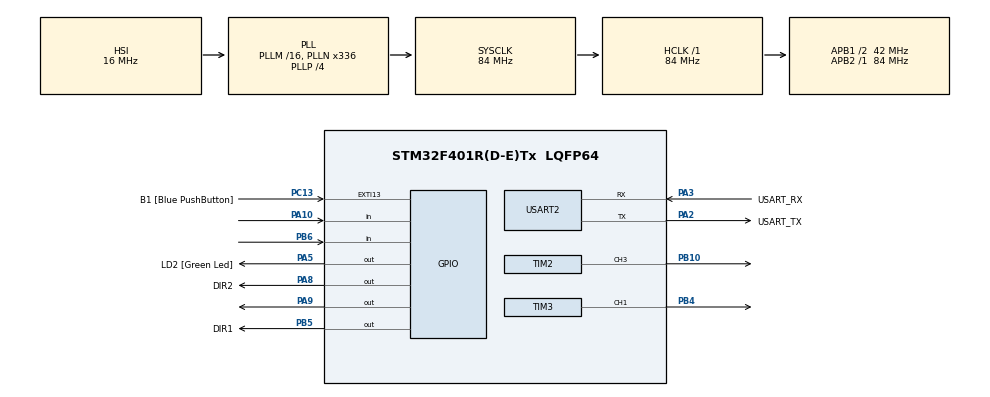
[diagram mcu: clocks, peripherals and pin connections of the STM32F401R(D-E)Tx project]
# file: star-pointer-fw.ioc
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Mcu.Family=STM32F4
Mcu.Name=STM32F401R(D-E)Tx
Mcu.Package=LQFP64
NVIC.PriorityGroup=NVIC_PRIORITYGROUP_4
NVIC.TIM2_IRQn=true\:0\:0\:false\:false\:true\:true\:true\:true
NVIC.TIM3_IRQn=true\:0\:0\:false\:false\:true\:true\:true\:true
PA10.GPIO_PuPd=GPIO_PULLUP
PA10.Signal=GPIO_Input
PA13.GPIO_Label=TMS
PA13.Mode=Trace_Asynchronous_SW
PA13.Signal=SYS_JTMS-SWDIO
PA14.GPIO_Label=TCK
PA14.Mode=Trace_Asynchronous_SW
PA14.Signal=SYS_JTCK-SWCLK
PA2.GPIO_Label=USART_TX
PA2.GPIO_Mode=GPIO_MODE_AF_PP
PA2.GPIO_PuPd=GPIO_NOPULL
PA2.GPIO_Speed=GPIO_SPEED_FREQ_LOW
PA2.Mode=Asynchronous
PA2.Signal=USART2_TX
PA3.GPIO_Label=USART_RX
PA3.GPIO_Mode=GPIO_MODE_AF_PP
PA3.GPIO_PuPd=GPIO_NOPULL
PA3.GPIO_Speed=GPIO_SPEED_FREQ_LOW
PA3.Mode=Asynchronous
PA3.Signal=USART2_RX
PA5.GPIO_Label=LD2 [Green Led]
PA5.GPIO_Mode=GPIO_MODE_OUTPUT_PP
PA5.GPIO_PuPd=GPIO_NOPULL
PA5.GPIO_Speed=GPIO_SPEED_FREQ_LOW
PA5.Signal=GPIO_Output
PA8.GPIO_Label=DIR2
PA8.Signal=GPIO_Output
PA9.Signal=GPIO_Output
PB10.Signal=S_TIM2_CH3
PB3.GPIO_Label=SWO
PB3.Mode=Trace_Asynchronous_SW
PB3.Signal=SYS_JTDO-SWO
PB4.Signal=S_TIM3_CH1
PB5.GPIO_Label=DIR1
PB5.Signal=GPIO_Output
PB6.GPIO_PuPd=GPIO_PULLUP
PB6.Signal=GPIO_Input
PC13-ANTI_TAMP.GPIO_Label=B1 [Blue PushButton]
PC13-ANTI_TAMP.GPIO_ModeDefaultEXTI=GPIO_MODE_IT_FALLING
PC13-ANTI_TAMP.GPIO_PuPd=GPIO_NOPULL
PC13-ANTI_TAMP.Signal=GPXTI13
PC14-OSC32_IN.Mode=LSE-External-Oscillator
PC14-OSC32_IN.Signal=RCC_OSC32_IN
PC15-OSC32_OUT.Mode=LSE-External-Oscillator
PC15-OSC32_OUT.Signal=RCC_OSC32_OUT
PH0\ -\ OSC_IN.Mode=HSE-External-Clock-Source
PH0\ -\ OSC_IN.Signal=RCC_OSC_IN
PH1\ -\ OSC_OUT.Mode=HSE-External-Clock-Source
PH1\ -\ OSC_OUT.Signal=RCC_OSC_OUT
ProjectManager.HeapSize=0x200
ProjectManager.StackSize=0x400
ProjectManager.TargetToolchain=STM32CubeIDE
RCC.48MHZClocksFreq_Value=48000000
RCC.AHBFreq_Value=84000000
RCC.APB1CLKDivider=RCC_HCLK_DIV2
RCC.APB1Freq_Value=42000000
RCC.APB1TimFreq_Value=84000000
RCC.APB2Freq_Value=84000000
RCC.APB2TimFreq_Value=84000000
RCC.CortexFreq_Value=84000000
RCC.HCLKFreq_Value=84000000
RCC.HSE_VALUE=8000000
RCC.HSI_VALUE=16000000
RCC.PLLN=336
RCC.PLLP=RCC_PLLP_DIV4
RCC.PLLQ=7
RCC.SYSCLKFreq_VALUE=84000000
RCC.SYSCLKSource=RCC_SYSCLKSOURCE_PLLCLK
RCC.VCOOutputFreq_Value=336000000
SH.S_TIM2_CH3.0=TIM2_CH3,PWM Generation3 CH3
SH.S_TIM3_CH1.0=TIM3_CH1,PWM Generation1 CH1
TIM2.Channel-PWM\ Generation3\ CH3=TIM_CHANNEL_3
TIM2.Period=4999
TIM2.Prescaler=83
TIM2.Pulse-PWM\ Generation3\ CH3=2500
TIM3.Channel-PWM\ Generation1\ CH1=TIM_CHANNEL_1
TIM3.Period=4999
TIM3.Prescaler=83
TIM3.Pulse-PWM\ Generation1\ CH1=2500
USART2.VirtualMode=VM_ASYNC
VP_TIM2_VS_ClockSourceINT.Mode=Internal
VP_TIM3_VS_ClockSourceINT.Mode=Internal
board=NUCLEO-F401RE

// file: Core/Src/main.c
/* USER CODE BEGIN Header */
/**
  ******************************************************************************
  * @file           : main.c
  * @brief          : Main program body
  ******************************************************************************
  * @attention
  *
  * Copyright (c) 2026 STMicroelectronics.
  * All rights reserved.
  *
  * This software is licensed under terms that can be found in the LICENSE file
  * in the root directory of this software component.
  * If no LICENSE file comes with this software, it is provided AS-IS.
  *
  ******************************************************************************
  */
/* USER CODE END Header */
#include "main.h"
#include "tim.h"
#include "usart.h"
#include "gpio.h"

/* USER CODE BEGIN Includes */
#include <string.h>
#include <stdio.h>
/* USER CODE END Includes */

/* USER CODE BEGIN PTD */

typedef struct {
  TIM_HandleTypeDef *htim;
  uint32_t channel;
  GPIO_TypeDef *dir_port;
  uint16_t dir_pin;
  volatile uint32_t steps_left;
  volatile uint8_t busy;
  volatile int32_t pos;
  int8_t dir;
} Axis;

/* USER CODE END PTD */

/* USER CODE BEGIN PD */

#define LASER_PORT GPIOA
#define LASER_PIN  GPIO_PIN_9

#define LASER_TIMEOUT_MS 60000

#define ALT_ES_PORT GPIOA
#define ALT_ES_PIN  GPIO_PIN_10

#define AZ_ES_PORT GPIOB
#define AZ_ES_PIN  GPIO_PIN_6

/* az homing search limit, 50-step chunks, about 190 deg */
#define AZ_SEARCH_CHUNKS 135

/* steps from the switch release edge up to laser level */
#define ALT_HOME_OFFSET 0

/* az homing CW search limit, 50-step chunks, about 230 deg */
#define AZ_CW_CHUNKS 164
/* start the final creep this many steps short of the edge, about 4 deg */
#define AZ_CREEP_START 150

/* USER CODE END PD */

/* USER CODE BEGIN PV */

Axis axes[2];
char line_buf[64];
uint8_t line_len = 0;

uint8_t laser_on = 0;
uint32_t laser_on_tick = 0;

/* USER CODE END PV */

void SystemClock_Config(void);
/* USER CODE BEGIN PFP */

void uart_print(const char *s);
int axis_move(Axis *ax, int32_t steps);
void axis_stop_all(void);
void handle_line(const char *line);
void home_altitude(void);
void home_azimuth(void);

/* USER CODE END PFP */

int main(void)
{

  /* MCU Configuration--------------------------------------------------------*/

  /* Reset of all peripherals, Initializes the Flash interface and the Systick. */
  HAL_Init();

  /* Configure the system clock */
  SystemClock_Config();

  /* Initialize all configured peripherals */
  MX_GPIO_Init();
  MX_USART2_UART_Init();
  MX_TIM2_Init();
  MX_TIM3_Init();
  /* USER CODE BEGIN 2 */

  axes[0] = (Axis){ &htim3, TIM_CHANNEL_1, DIR1_GPIO_Port, DIR1_Pin, 0, 0, 0, 1 };
  axes[1] = (Axis){ &htim2, TIM_CHANNEL_3, DIR2_GPIO_Port, DIR2_Pin, 0, 0, 0, 1 };
  /* default step period 600us: 3x margin over motor 2's
     unloaded limit (stalls at 150, clean at 200) */
  for (int i = 0; i < 2; i++)
  {
    __HAL_TIM_SET_AUTORELOAD(axes[i].htim, 599);
    __HAL_TIM_SET_COMPARE(axes[i].htim, axes[i].channel, 300);
  }
  uart_print("star pointer ready\r\n");

  HAL_GPIO_WritePin(LASER_PORT, LASER_PIN, GPIO_PIN_RESET);

  /* USER CODE END 2 */

  /* Infinite loop */
  while (1)
  {

    /* USER CODE BEGIN 3 */

	  if (laser_on && HAL_GetTick() - laser_on_tick >= LASER_TIMEOUT_MS) {
	    HAL_GPIO_WritePin(LASER_PORT, LASER_PIN, GPIO_PIN_RESET);
	    laser_on = 0;
	  }

	  uint8_t c;
	  if (HAL_UART_Receive(&huart2, &c, 1, 0) == HAL_OK) {
	    if (c == '\r' || c == '\n') {
	      if (line_len > 0) {
	        uart_print("\r\n");
	        line_buf[line_len] = '\0';
	        handle_line(line_buf);
	        line_len = 0;
	      }
	    } else if (c == 0x7F || c == 0x08) {
	      if (line_len > 0) {
	        line_len--;
	        uart_print("\b \b");
	      }
	    } else if (line_len < sizeof(line_buf) - 1) {
	      line_buf[line_len++] = c;
	      HAL_UART_Transmit(&huart2, &c, 1, HAL_MAX_DELAY);
	    }
	  }

  }
  /* USER CODE END 3 */
}

void SystemClock_Config(void)
{
  RCC_OscInitTypeDef RCC_OscInitStruct = {0};
  RCC_ClkInitTypeDef RCC_ClkInitStruct = {0};

  /** Configure the main internal regulator output voltage
  */
  __HAL_RCC_PWR_CLK_ENABLE();
  __HAL_PWR_VOLTAGESCALING_CONFIG(PWR_REGULATOR_VOLTAGE_SCALE2);

  /** Initializes the RCC Oscillators according to the specified parameters
  * in the RCC_OscInitTypeDef structure.
  */
  RCC_OscInitStruct.OscillatorType = RCC_OSCILLATORTYPE_HSI;
  RCC_OscInitStruct.HSIState = RCC_HSI_ON;
  RCC_OscInitStruct.HSICalibrationValue = RCC_HSICALIBRATION_DEFAULT;
  RCC_OscInitStruct.PLL.PLLState = RCC_PLL_ON;
  RCC_OscInitStruct.PLL.PLLSource = RCC_PLLSOURCE_HSI;
  RCC_OscInitStruct.PLL.PLLM = 16;
  RCC_OscInitStruct.PLL.PLLN = 336;
  RCC_OscInitStruct.PLL.PLLP = RCC_PLLP_DIV4;
  RCC_OscInitStruct.PLL.PLLQ = 7;
  if (HAL_RCC_OscConfig(&RCC_OscInitStruct) != HAL_OK)
  {
    Error_Handler();
  }

  /** Initializes the CPU, AHB and APB buses clocks
  */
  RCC_ClkInitStruct.ClockType = RCC_CLOCKTYPE_HCLK|RCC_CLOCKTYPE_SYSCLK
                              |RCC_CLOCKTYPE_PCLK1|RCC_CLOCKTYPE_PCLK2;
  RCC_ClkInitStruct.SYSCLKSource = RCC_SYSCLKSOURCE_PLLCLK;
  RCC_ClkInitStruct.AHBCLKDivider = RCC_SYSCLK_DIV1;
  RCC_ClkInitStruct.APB1CLKDivider = RCC_HCLK_DIV2;
  RCC_ClkInitStruct.APB2CLKDivider = RCC_HCLK_DIV1;

  if (HAL_RCC_ClockConfig(&RCC_ClkInitStruct, FLASH_LATENCY_2) != HAL_OK)
  {
    Error_Handler();
  }
}

/* USER CODE BEGIN 4 */

void uart_print(const char *s)
{
  HAL_UART_Transmit(&huart2, (uint8_t *)s, strlen(s), HAL_MAX_DELAY);
}

int axis_move(Axis *ax, int32_t steps)
{
  if (ax->busy) return 1;
  if (steps == 0) return 0;

  ax->dir = (steps > 0) ? 1 : -1;
  HAL_GPIO_WritePin(ax->dir_port, ax->dir_pin,
                    steps > 0 ? GPIO_PIN_SET : GPIO_PIN_RESET);
  ax->steps_left = (steps > 0) ? steps : -steps;
  ax->busy = 1;

  HAL_Delay(1);  /* give DIR time to settle before the first step */

  __HAL_TIM_SET_COUNTER(ax->htim, 0);
  __HAL_TIM_CLEAR_IT(ax->htim, TIM_IT_CC1 | TIM_IT_CC2 | TIM_IT_CC3 | TIM_IT_CC4);
  HAL_TIM_PWM_Start_IT(ax->htim, ax->channel);
  return 0;
}

static int alt_triggered(void)
{
  return HAL_GPIO_ReadPin(ALT_ES_PORT, ALT_ES_PIN) == GPIO_PIN_RESET;
}

static int az_triggered(void)
{
  return HAL_GPIO_ReadPin(AZ_ES_PORT, AZ_ES_PIN) == GPIO_PIN_RESET;
}

/* Blocking move of one axis, used only during homing. */
static int home_step(int32_t steps)
{
  if (axis_move(&axes[0], steps)) return 1;
  while (axes[0].busy) { }
  return 0;
}

void home_altitude(void)
{
  uint32_t saved = __HAL_TIM_GET_AUTORELOAD(axes[0].htim);
  int found = 0;

  /* The cam can only be approached from below: coming down, the lever
     tip catches the clamp slot. So homing always drives up from below. */

  /* if we're already on the cam, back off below it first */
  if (alt_triggered())
  {
    for (int i = 0; i < 80; i++)
    {
      home_step(-50);
      if (!alt_triggered()) { found = 1; break; }
    }
    if (!found) { uart_print("ERR no release\r\n"); goto done; }
    home_step(-100);
    found = 0;
  }

  /* 1. fast approach up until the switch trips */
  __HAL_TIM_SET_AUTORELOAD(axes[0].htim, 1999);
  __HAL_TIM_SET_COMPARE(axes[0].htim, axes[0].channel, 1000);
  for (int i = 0; i < 80; i++)
  {
    home_step(50);
    if (alt_triggered()) { found = 1; break; }
  }
  if (!found) { uart_print("ERR no switch\r\n"); goto done; }

  /* 2. back off below the trip point */
  home_step(-400);
  if (alt_triggered()) { uart_print("ERR stuck on\r\n"); goto done; }

  /* 3. slow approach up to the same edge */
  __HAL_TIM_SET_AUTORELOAD(axes[0].htim, 5999);
  __HAL_TIM_SET_COMPARE(axes[0].htim, axes[0].channel, 3000);
  found = 0;
  for (int i = 0; i < 200; i++)
  {
    home_step(5);
    if (alt_triggered()) { found = 1; break; }
  }
  if (!found) { uart_print("ERR no edge\r\n"); goto done; }

  /* 4. the first trip coming up is level */
  axes[0].pos = 0;
  uart_print("HOMED\r\n");

done:
  __HAL_TIM_SET_AUTORELOAD(axes[0].htim, saved);
  __HAL_TIM_SET_COMPARE(axes[0].htim, axes[0].channel, (saved + 1) / 2);
}

/* Blocking move of any axis, used during homing. */
static void move_wait(Axis *ax, int32_t steps)
{
  while (ax->busy) { }
  axis_move(ax, steps);
  while (ax->busy) { }
}

static void set_period(Axis *ax, uint32_t us)
{
  __HAL_TIM_SET_AUTORELOAD(ax->htim, us - 1);
  __HAL_TIM_SET_COMPARE(ax->htim, ax->channel, us / 2);
}

void home_azimuth(void)
{
  Axis *az = &axes[1];
  uint32_t saved = __HAL_TIM_GET_AUTORELOAD(az->htim) + 1;
  int found;
  int32_t edge;
  char buf[32];

  /* Positive is CW. Home is where the switch RELEASES going CCW off the
     steep ramp. Going CW the switch doesn't click until partway onto the
     flat top, so that edge isn't used. */
  set_period(az, 2000);

  /* 1. if off, go CW until it clicks on */
  if (!az_triggered())
  {
    found = 0;
    for (int i = 0; i < AZ_CW_CHUNKS; i++)
    {
      move_wait(az, 50);
      if (az_triggered()) { found = 1; break; }
    }
    if (!found) { uart_print("ERR no switch\r\n"); goto done; }
  }

  /* 2. fast CCW until it releases, remember roughly where */
  found = 0;
  for (int i = 0; i < AZ_SEARCH_CHUNKS; i++)
  {
    move_wait(az, -50);
    if (!az_triggered()) { found = 1; break; }
  }
  if (!found) { uart_print("ERR no release\r\n"); goto done; }
  edge = az->pos;

  /* 3. back CW until it clicks on again, so the final approach
        is always CCW from the on side */
  found = 0;
  for (int i = 0; i < AZ_CW_CHUNKS; i++)
  {
    move_wait(az, 50);
    if (az_triggered()) { found = 1; break; }
  }
  if (!found) { uart_print("ERR no retrip\r\n"); goto done; }

  /* 4. fast CCW to just short of the edge, then creep one step at a time */
  move_wait(az, (edge + AZ_CREEP_START) - az->pos);
  if (!az_triggered()) { uart_print("ERR lost switch\r\n"); goto done; }

  set_period(az, 6000);
  found = 0;
  for (int i = 0; i < 2000; i++)
  {
    move_wait(az, -1);
    if (!az_triggered()) { found = 1; break; }
  }
  if (!found) { uart_print("ERR no edge\r\n"); goto done; }

  snprintf(buf, sizeof(buf), "HOMED %ld\r\n", (long)az->pos);
  az->pos = 0;
  uart_print(buf);

done:
  set_period(az, saved);
}

void axis_stop_all(void)
{

	  HAL_GPIO_WritePin(LASER_PORT, LASER_PIN, GPIO_PIN_RESET);

  for (int i = 0; i < 2; i++)
  {
    __disable_irq();
    HAL_TIM_PWM_Stop_IT(axes[i].htim, axes[i].channel);
    axes[i].steps_left = 0;
    axes[i].busy = 0;
    __enable_irq();
  }
}

/* Runs automatically at the end of every step pulse */
void HAL_TIM_PWM_PulseFinishedCallback(TIM_HandleTypeDef *htim)
{
  for (int i = 0; i < 2; i++)
  {
    Axis *ax = &axes[i];
    if (htim == ax->htim && ax->busy)
    {
      if (ax->steps_left > 0) ax->steps_left--;
      ax->pos += ax->dir;
      if (ax->steps_left == 0)
      {
        HAL_TIM_PWM_Stop_IT(ax->htim, ax->channel);
        ax->busy = 0;
      }
    }
  }
}

void handle_line(const char *line)
{
  int axis;
  long steps;
  long us;
  char buf[64];

  if (sscanf(line, "M %d %ld", &axis, &steps) == 2)
  {
    if (axis < 1 || axis > 2) { uart_print("ERR bad axis\r\n"); return; }
    if (axis_move(&axes[axis - 1], steps)) { uart_print("ERR busy\r\n"); return; }
    uart_print("OK\r\n");
  }
  else if (strcmp(line, "S") == 0)
  {
    snprintf(buf, sizeof(buf), "POS %ld %ld BUSY %d %d\r\n",
             (long)axes[0].pos, (long)axes[1].pos,
             axes[0].busy, axes[1].busy);
    uart_print(buf);
  }
  else if (strcmp(line, "X") == 0)
  {
    axis_stop_all();
    uart_print("OK\r\n");
  }
  else if (sscanf(line, "V %ld", &us) == 1)
  {
    if (us < 100 || us > 20000) { uart_print("ERR bad period\r\n"); return; }
    if (axes[0].busy || axes[1].busy) { uart_print("ERR busy\r\n"); return; }
    for (int i = 0; i < 2; i++)
    {
      __HAL_TIM_SET_AUTORELOAD(axes[i].htim, us - 1);
      __HAL_TIM_SET_COMPARE(axes[i].htim, axes[i].channel, us / 2);
    }
    uart_print("OK\r\n");
  }

  else if (strcmp(line, "L 1") == 0)
  {
    HAL_GPIO_WritePin(LASER_PORT, LASER_PIN, GPIO_PIN_SET);
    laser_on = 1;
    laser_on_tick = HAL_GetTick();
    uart_print("OK\r\n");
  }
  else if (strcmp(line, "L 0") == 0)
  {
    HAL_GPIO_WritePin(LASER_PORT, LASER_PIN, GPIO_PIN_RESET);
    laser_on = 0;
    uart_print("OK\r\n");
  }

  else if (strcmp(line, "E") == 0)
  {
    snprintf(buf, sizeof(buf), "ES ALT %d AZ %d\r\n",
             alt_triggered(), az_triggered());
    uart_print(buf);
  }

  else if (strcmp(line, "H") == 0)
  {
    home_altitude();
  }

  else if (strcmp(line, "H AZ") == 0)
  {
    home_azimuth();
  }

  else
  {
    uart_print("ERR unknown\r\n");
  }
}

/* USER CODE END 4 */

void Error_Handler(void)
{
  __disable_irq();
  while (1)
  {
  }
}
